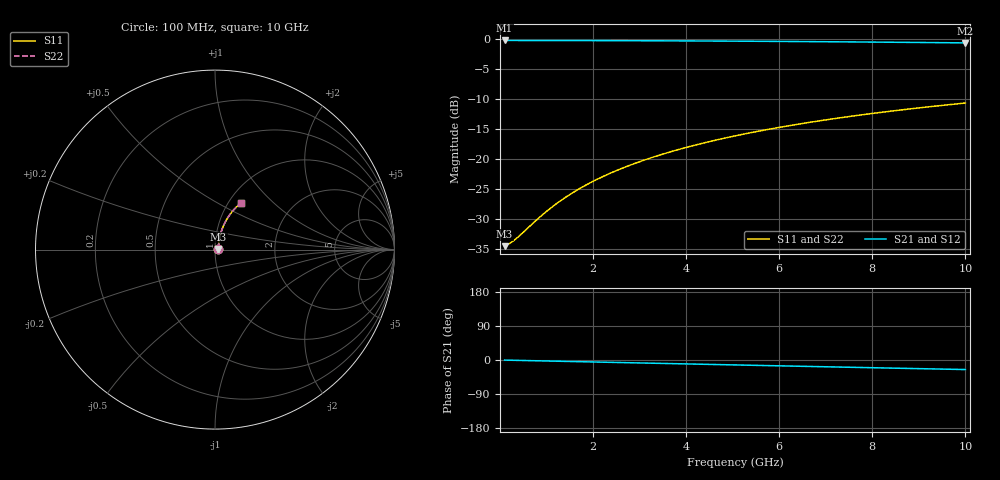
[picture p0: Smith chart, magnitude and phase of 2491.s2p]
# Hz S RI R 50.00
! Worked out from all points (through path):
!   100 points, 100 MHz to 10 GHz, reference 50 ohm
!   highest |S21| = -0.16 dB at 100 MHz (marker M1); lowest = -0.6 dB at 10 GHz (marker M2)
!   group delay of S21, straight-line fit = 7.01 ps
!   lowest |S11| = -34.5 dB at 100 MHz (marker M3), VSWR 1.04, Z = 51.9 + j0.316 ohm
!   |S11| at or under -10 dB: start of sweep to end of sweep
!   |S22| runs from -34.5 to -10.6 dB; largest |S21 - S12| = 0
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1e8  0.0185 0.00304  0.9815 -0.00445  0.9815 -0.00445  0.0185 0.00304
2e8  0.0187 0.00609  0.9813 -0.00889  0.9813 -0.00889  0.0187 0.00609
3e8  0.0188 0.00913  0.9812 -0.0133  0.9812 -0.0133  0.0188 0.00913
4e8  0.019 0.0122  0.981 -0.0178  0.981 -0.0178  0.019 0.0122
9e8  0.0201 0.0273  0.9798 -0.0399  0.9798 -0.0399  0.0201 0.0273
1.2e9  0.0211 0.0364  0.9787 -0.0532  0.9787 -0.0532  0.0211 0.0364
1.5e9  0.0223 0.0454  0.9775 -0.0664  0.9775 -0.0664  0.0223 0.0454
1.8e9  0.0237 0.0544  0.9759 -0.0796  0.9759 -0.0796  0.0237 0.0544
2.1e9  0.0254 0.0633  0.9741 -0.0928  0.9741 -0.0928  0.0254 0.0633
2.5e9  0.028 0.0752  0.9714 -0.1102  0.9714 -0.1102  0.028 0.0752
2.9e9  0.031 0.0869  0.9681 -0.1275  0.9681 -0.1275  0.031 0.0869
3.4e9  0.0353 0.1013  0.9635 -0.1489  0.9635 -0.1489  0.0353 0.1013
3.8e9  0.0392 0.1126  0.9593 -0.1659  0.9593 -0.1659  0.0392 0.1126
4.2e9  0.0435 0.1238  0.9547 -0.1827  0.9547 -0.1827  0.0435 0.1238
4.6e9  0.0482 0.1348  0.9497 -0.1993  0.9497 -0.1993  0.0482 0.1348
5.1e9  0.0545 0.1482  0.9428 -0.2198  0.9428 -0.2198  0.0545 0.1482
5.9e9  0.0659 0.169  0.9306 -0.2518  0.9306 -0.2518  0.0659 0.169
6.7e9  0.0785 0.1887  0.9169 -0.2829  0.9169 -0.2829  0.0785 0.1887
7.5e9  0.0924 0.2074  0.9019 -0.3128  0.9019 -0.3128  0.0924 0.2074
8.4e9  0.1093 0.2269  0.8836 -0.3451  0.8836 -0.3451  0.1093 0.2269
9.2e9  0.1253 0.243  0.866 -0.3726  0.866 -0.3726  0.1253 0.243
1e10  0.1423 0.2578  0.8476 -0.3987  0.8476 -0.3987  0.1423 0.2578
